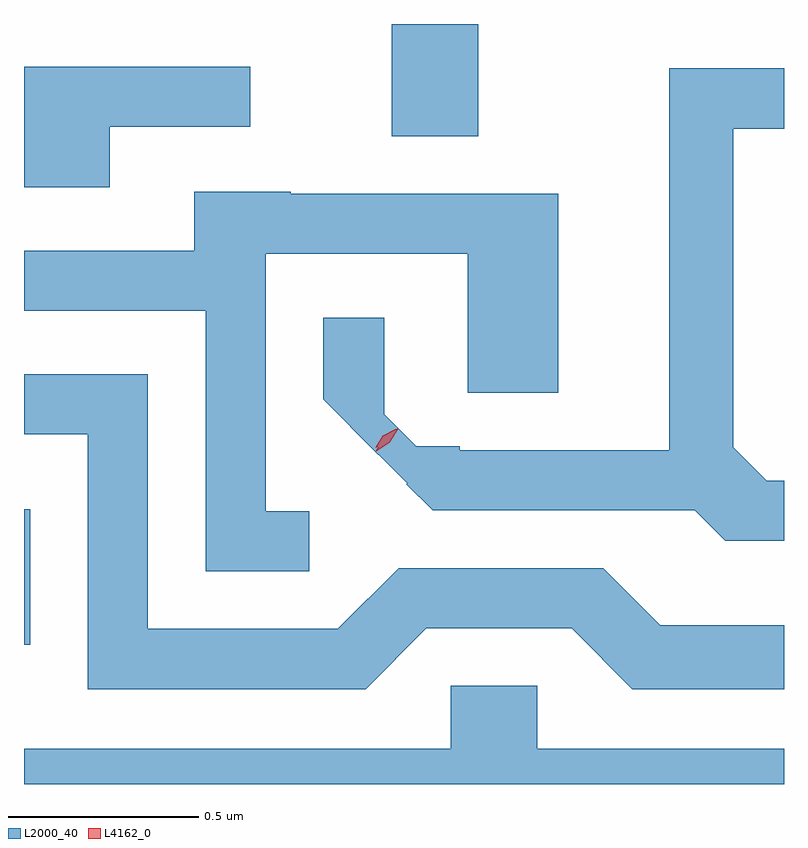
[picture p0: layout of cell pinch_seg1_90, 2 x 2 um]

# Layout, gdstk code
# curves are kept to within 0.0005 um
import gdstk
lib = gdstk.Library(unit=1e-6, precision=1e-09)
def R(c, l, rs):  # rectangles x0, y0, x1, y1
    for r in rs: c.add(gdstk.rectangle(r[:2], r[2:], *l))
def P(c, l, *ps):  # polygons
    for p in ps: c.add(gdstk.Polygon(p, *l))
L2000_40 = (2000, 40)
L4162_0 = (4162, 0)

pinch_seg1_90 = lib.new_cell('pinch_seg1_90')
R(pinch_seg1_90, L2000_40, [(1027.223,840.178,1027.239,840.534), (1028.191,841.516,1028.419,841.811)])
P(pinch_seg1_90, L2000_40, [(1027.449,841.541),(1027.818,841.541),(1027.818,841.699),(1027.223,841.699),(1027.223,841.381),(1027.449,841.381)],
  [(1029.223,840.609),(1029.177,840.609),(1029.089,840.697),(1029.089,841.536),(1029.223,841.536),(1029.223,841.694),(1028.921,841.694),(1028.921,840.689),(1028.37,840.689),(1028.37,840.7),(1028.255,840.7),(1028.171,840.784),(1028.171,841.038),(1028.011,841.038),(1028.011,840.823),(1028.231,840.602),(1028.229,840.6),(1028.298,840.531),(1028.988,840.531),(1029.069,840.451),(1029.223,840.451)],
  [(1027.973,840.529),(1027.859,840.529),(1027.859,841.206),(1028.391,841.206),(1028.391,840.841),(1028.629,840.841),(1028.629,841.364),(1027.925,841.364),(1027.925,841.369),(1027.671,841.369),(1027.671,841.214),(1027.223,841.214),(1027.223,841.056),(1027.701,841.056),(1027.701,840.371),(1027.973,840.371)],
  [(1028.282,840.221),(1028.664,840.221),(1028.824,840.061),(1029.223,840.061),(1029.223,840.229),(1028.897,840.229),(1028.747,840.379),(1028.209,840.379),(1028.049,840.219),(1027.549,840.219),(1027.549,840.889),(1027.223,840.889),(1027.223,840.731),(1027.391,840.731),(1027.391,840.061),(1028.122,840.061)],
  [(1029.223,839.904),(1028.574,839.904),(1028.574,840.069),(1028.346,840.069),(1028.346,839.904),(1027.223,839.904),(1027.223,839.811),(1029.223,839.811)])
P(pinch_seg1_90, L4162_0, [(1028.148,840.686),(1028.148,840.687),(1028.171,840.724),(1028.207,840.747),(1028.208,840.747),(1028.208,840.746),(1028.185,840.71),(1028.149,840.686)],
  [(1028.148,840.696),(1028.148,840.697),(1028.167,840.728),(1028.2,840.745),(1028.201,840.745),(1028.201,840.744),(1028.181,840.713),(1028.148,840.696)])

lib.write_gds('pinch_seg1_90.gds')
